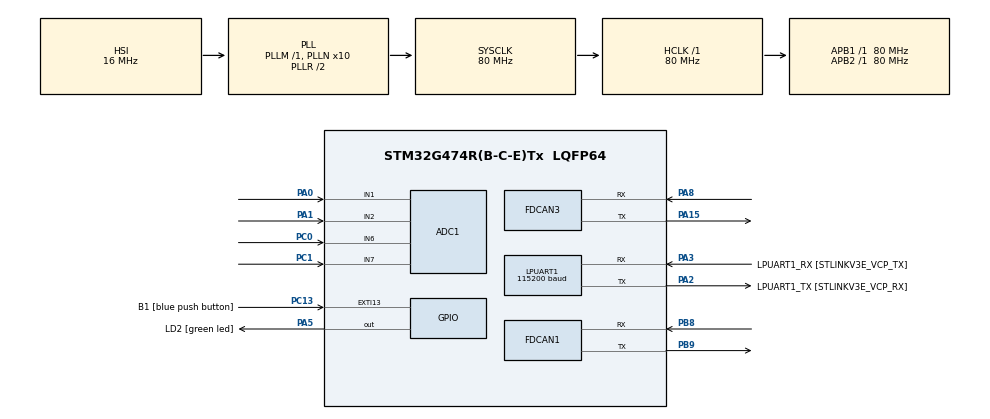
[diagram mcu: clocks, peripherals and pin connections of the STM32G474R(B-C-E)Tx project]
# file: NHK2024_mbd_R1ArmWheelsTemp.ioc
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ADC1.Channel-0\#ChannelRegularConversion=ADC_CHANNEL_1
ADC1.Channel-1\#ChannelRegularConversion=ADC_CHANNEL_2
ADC1.Channel-2\#ChannelRegularConversion=ADC_CHANNEL_6
ADC1.Channel-3\#ChannelRegularConversion=ADC_CHANNEL_7
ADC1.ContinuousConvMode=ENABLE
ADC1.DMAContinuousRequests=ENABLE
ADC1.EOCSelection=ADC_EOC_SINGLE_CONV
ADC1.NbrOfConversion=4
ADC1.NbrOfConversionFlag=1
ADC1.OffsetNumber-0\#ChannelRegularConversion=ADC_OFFSET_NONE
ADC1.OffsetNumber-1\#ChannelRegularConversion=ADC_OFFSET_NONE
ADC1.OffsetNumber-2\#ChannelRegularConversion=ADC_OFFSET_NONE
ADC1.OffsetNumber-3\#ChannelRegularConversion=ADC_OFFSET_NONE
ADC1.Rank-0\#ChannelRegularConversion=1
ADC1.Rank-1\#ChannelRegularConversion=2
ADC1.Rank-2\#ChannelRegularConversion=3
ADC1.Rank-3\#ChannelRegularConversion=4
ADC1.SamplingTime-0\#ChannelRegularConversion=ADC_SAMPLETIME_247CYCLES_5
ADC1.SamplingTime-1\#ChannelRegularConversion=ADC_SAMPLETIME_247CYCLES_5
ADC1.SamplingTime-2\#ChannelRegularConversion=ADC_SAMPLETIME_247CYCLES_5
ADC1.SamplingTime-3\#ChannelRegularConversion=ADC_SAMPLETIME_247CYCLES_5
ADC1.master=1
Dma.ADC1.0.Direction=DMA_PERIPH_TO_MEMORY
Dma.ADC1.0.EventEnable=DISABLE
Dma.ADC1.0.Instance=DMA1_Channel1
Dma.ADC1.0.MemDataAlignment=DMA_MDATAALIGN_HALFWORD
Dma.ADC1.0.MemInc=DMA_MINC_ENABLE
Dma.ADC1.0.Mode=DMA_CIRCULAR
Dma.ADC1.0.PeriphDataAlignment=DMA_PDATAALIGN_HALFWORD
Dma.ADC1.0.PeriphInc=DMA_PINC_DISABLE
Dma.ADC1.0.Polarity=HAL_DMAMUX_REQ_GEN_RISING
Dma.ADC1.0.Priority=DMA_PRIORITY_LOW
Dma.ADC1.0.RequestNumber=1
Dma.ADC1.0.SignalID=NONE
Dma.ADC1.0.SyncEnable=DISABLE
Dma.ADC1.0.SyncPolarity=HAL_DMAMUX_SYNC_NO_EVENT
Dma.ADC1.0.SyncRequestNumber=1
Dma.ADC1.0.SyncSignalID=NONE
Dma.Request0=ADC1
FDCAN1.CalculateBaudRateNominal=1000000
FDCAN1.CalculateTimeBitNominal=1000
FDCAN1.CalculateTimeQuantumNominal=50.0
FDCAN1.DataPrescaler=2
FDCAN1.DataTimeSeg1=15
FDCAN1.DataTimeSeg2=4
FDCAN1.FrameFormat=FDCAN_FRAME_FD_BRS
FDCAN1.NominalPrescaler=4
FDCAN1.NominalTimeSeg1=15
FDCAN1.NominalTimeSeg2=4
FDCAN1.StdFiltersNbr=1
FDCAN3.CalculateBaudRateNominal=1000000
FDCAN3.CalculateTimeBitNominal=1000
FDCAN3.CalculateTimeQuantumNominal=50.0
FDCAN3.NominalPrescaler=4
FDCAN3.NominalTimeSeg1=15
FDCAN3.NominalTimeSeg2=4
FDCAN3.StdFiltersNbr=1
LPUART1.BaudRate=115200
LPUART1.WordLength=UART_WORDLENGTH_8B
Mcu.Family=STM32G4
Mcu.Name=STM32G474R(B-C-E)Tx
Mcu.Package=LQFP64
NVIC.DMA1_Channel1_IRQn=true\:0\:0\:false\:false\:true\:false\:true\:true
NVIC.FDCAN1_IT0_IRQn=true\:3\:0\:true\:false\:true\:true\:true\:true
NVIC.FDCAN1_IT1_IRQn=true\:3\:0\:true\:false\:true\:true\:true\:true
NVIC.FDCAN3_IT0_IRQn=true\:0\:0\:false\:false\:true\:true\:true\:true
NVIC.FDCAN3_IT1_IRQn=true\:0\:0\:false\:false\:true\:true\:true\:true
NVIC.PriorityGroup=NVIC_PRIORITYGROUP_4
NVIC.TIM7_DAC_IRQn=true\:0\:0\:false\:false\:true\:true\:true\:true
PA0.Mode=IN1-Single-Ended
PA0.Signal=ADC1_IN1
PA1.Mode=IN2-Single-Ended
PA1.Signal=ADC1_IN2
PA13.GPIO_Label=T_SWDIO
PA13.Mode=Serial_Wire
PA13.Signal=SYS_JTMS-SWDIO
PA14.GPIO_Label=T_SWCLK
PA14.Mode=Serial_Wire
PA14.Signal=SYS_JTCK-SWCLK
PA15.Mode=FDCAN_Activate
PA15.Signal=FDCAN3_TX
PA2.GPIO_Label=LPUART1_TX [STLINKV3E_VCP_RX]
PA2.Mode=Asynchronous
PA2.Signal=LPUART1_TX
PA3.GPIO_Label=LPUART1_RX [STLINKV3E_VCP_TX]
PA3.Mode=Asynchronous
PA3.Signal=LPUART1_RX
PA5.GPIO_Label=LD2 [green led]
PA5.Signal=GPIO_Output
PA8.Mode=FDCAN_Activate
PA8.Signal=FDCAN3_RX
PB8-BOOT0.Mode=FDCAN_Activate
PB8-BOOT0.Signal=FDCAN1_RX
PB9.Mode=FDCAN_Activate
PB9.Signal=FDCAN1_TX
PC0.Mode=IN6-Single-Ended
PC0.Signal=ADC1_IN6
PC1.Mode=IN7-Single-Ended
PC1.Signal=ADC1_IN7
PC13.GPIO_Label=B1 [blue push button]
PC13.Signal=GPXTI13
PC14-OSC32_IN.Mode=LSE-External-Oscillator
PC14-OSC32_IN.Signal=RCC_OSC32_IN
PC15-OSC32_OUT.Mode=LSE-External-Oscillator
PC15-OSC32_OUT.Signal=RCC_OSC32_OUT
PF0-OSC_IN.Mode=HSE-External-Oscillator
PF0-OSC_IN.Signal=RCC_OSC_IN
PF1-OSC_OUT.Mode=HSE-External-Oscillator
PF1-OSC_OUT.Signal=RCC_OSC_OUT
ProjectManager.HeapSize=0x200
ProjectManager.StackSize=0x400
ProjectManager.TargetToolchain=STM32CubeIDE
RCC.ADC12Freq_Value=80000000
RCC.ADC345Freq_Value=80000000
RCC.AHBFreq_Value=80000000
RCC.APB1Freq_Value=80000000
RCC.APB1TimFreq_Value=80000000
RCC.APB2Freq_Value=80000000
RCC.APB2TimFreq_Value=80000000
RCC.CortexFreq_Value=80000000
RCC.EXTERNAL_CLOCK_VALUE=12288000
RCC.HCLKFreq_Value=80000000
RCC.HSE_VALUE=24000000
RCC.HSI48_VALUE=48000000
RCC.HSI_VALUE=16000000
RCC.PLLN=10
RCC.RTCClockSelection=RCC_RTCCLKSOURCE_LSE
RCC.SYSCLKFreq_VALUE=80000000
RCC.SYSCLKSource=RCC_SYSCLKSOURCE_PLLCLK
RCC.USBFreq_Value=80000000
RCC.VCOOutputFreq_Value=160000000
TIM7.PeriodNoDither=999
TIM7.Prescaler=79
VP_SYS_VS_DBSignals.Mode=DisableDeadBatterySignals
VP_TIM6_VS_ClockSourceINT.Mode=Enable_Timer
VP_TIM7_VS_ClockSourceINT.Mode=Enable_Timer
board=NUCLEO-G474RE

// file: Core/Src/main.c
/* USER CODE BEGIN Header */
/**
  ******************************************************************************
  * @file           : main.c
  * @brief          : Main program body
  ******************************************************************************
  * @attention
  *
  * Copyright (c) 2024 STMicroelectronics.
  * All rights reserved.
  *
  * This software is licensed under terms that can be found in the LICENSE file
  * in the root directory of this software component.
  * If no LICENSE file comes with this software, it is provided AS-IS.
  *
  ******************************************************************************
  */
/* USER CODE END Header */
#include "main.h"

/* USER CODE BEGIN Includes */

#include "stdio.h"
#include "string.h"

#include "R1CANIDList.h"
#include "DJI_CANIDList.h"
#include <math.h>

/* USER CODE END Includes */

/* USER CODE BEGIN PM */
#define WHEEL_DIAMETER 100 //[mm]
#define WHEELBASE_LEN 300 //[mm]
#define TREAD_LEN 200//[mm]
/* USER CODE END PM */

ADC_HandleTypeDef hadc1;
DMA_HandleTypeDef hdma_adc1;

FDCAN_HandleTypeDef hfdcan1;
FDCAN_HandleTypeDef hfdcan3;

UART_HandleTypeDef hlpuart1;

TIM_HandleTypeDef htim6;
TIM_HandleTypeDef htim7;

/* USER CODE BEGIN PV */

FDCAN_TxHeaderTypeDef FDCAN1_TxHeader;
FDCAN_RxHeaderTypeDef FDCAN1_RxHeader;
FDCAN_FilterTypeDef FDCAN1_sFilterConfig;

FDCAN_TxHeaderTypeDef FDCAN3_TxHeader;
FDCAN_RxHeaderTypeDef FDCAN3_RxHeader;
FDCAN_FilterTypeDef FDCAN3_sFilterConfig;

uint8_t FDCAN1_TxData[4] = {0};
uint8_t FDCAN1_RxData[4] = {0};
uint32_t FDCAN1_TxMailbox;

uint8_t FDCAN3_RxData[8] = {0};
uint32_t FDCAN3_TxMailbox;

int goal_list[3][4] = {{2500,1500,2500,1400},
                       {2000,1500,2500,2000},
                       {2500,2000,2000,1400}};

int move[4][4] = {{10,10,10,10},
                  {-500,500,500,-500},
                  {500,500,500,500},
                  {-500,-500,-500,-500}};

struct pid_data{
    double t;
    double i[4];
    double error[4];
    double pre_error[4];
    int u[4];
    int goal[4];
};

typedef struct{
	float actPos[3];
	float trgPos[3];
	float outPos[3];
	float actVel[3];
	float trgVel[3];
	float outVel[3];
} robotPosStatus;

typedef struct{
	uint16_t CANID;
	uint8_t motorID;
	float trgVel;
	float actVel;
	float outVel;
	float angle;//[rad]
}motor;

robotPosStatus gRobotPos;
motor gMotor[4];

struct pid_data pid;
int flag = 3;

double p_gain[4] = {4.5,4.5,4.5,4.5};
double i_gain[4] = {0.5,0.5,0.5,0.5};
double d_gain[4] = {0.5,0.5,0.5,0.5};

uint16_t adc[4] = {0};

/* USER CODE END PV */

void SystemClock_Config(void);
static void MX_GPIO_Init(void);
static void MX_DMA_Init(void);
static void MX_LPUART1_UART_Init(void);
static void MX_FDCAN3_Init(void);
static void MX_FDCAN1_Init(void);
static void MX_TIM7_Init(void);
static void MX_ADC1_Init(void);
static void MX_TIM6_Init(void);

/* USER CODE BEGIN 0 */
void InverseKinematics(robotPosStatus *robotPos, motor wheelMotor[]){
	//座標変換行�??

	float wheelParam = (WHEELBASE_LEN + TREAD_LEN) / 2;
	uint8_t gain = 6;
	const float A[4][3] = {
			{ 200, -200, wheelParam},
			{ 200,  200, wheelParam},
			{-200,  200, wheelParam},
			{-200, -200, wheelParam}
	};

	for(uint8_t i=0; i<4; i++){
		wheelMotor[i].trgVel = 0;

		for(uint8_t j=0; j<3; j++){
			wheelMotor[i].trgVel += gain * A[i][j] * robotPos->trgVel[j] / WHEEL_DIAMETER;
		}
		//printf("%d:%f\r\n", i, wheelMotor[i].trgVel);
	}
}

int _write(int file, char *ptr, int len)
{
    HAL_UART_Transmit(&hlpuart1,(uint8_t *)ptr,len,10);
    return len;
}

int clamp(int value){
    if(18000 < value)
        return 18000;
    else if(value < -18000)
        return -18000;
    return value;
}

void pid_cul(){
    double p[4] = {0};
    double d[4] = {0};

    for(int k = 0; k < 4; k++) {
        pid.error[k] = adc[k] - pid.goal[k];
        p[k] = p_gain[k] * pid.error[k];
        pid.i[k] += i_gain[k] * (pid.error[k] + pid.pre_error[k]) * pid.t / 2;
        d[k] = d_gain[k] * (pid.error[k] - pid.pre_error[k]) / pid.t;
        pid.pre_error[k] = pid.error[k];
        pid.u[k] = clamp((int) (p[k] + pid.i[k] + d[k]));
    }
    //printf("%d\n\r", adc[3]);
}

void HAL_TIM_PeriodElapsedCallback(TIM_HandleTypeDef *htim){

    if(htim == &htim7) {
        pid_cul();
        memmove(pid.pre_error, pid.error, sizeof(pid.error));
        uint8_t FDCAN3_TxData[8] = {0};
        for (int k = 0; k < 4; k++){
			FDCAN3_TxData[k * 2] = pid.u[k] >> 8;
			FDCAN3_TxData[k * 2 + 1] = pid.u[k];
		}

        FDCAN3_TxHeader.Identifier = 0x200;
        if (HAL_FDCAN_AddMessageToTxFifoQ(&hfdcan3, &FDCAN3_TxHeader, FDCAN3_TxData) != HAL_OK) {
            Error_Handler();
        }
    }
}

void HAL_FDCAN_RxFifo0Callback(FDCAN_HandleTypeDef *hfdcan, uint32_t RxFifo0ITs) {
	printf("read message!!!\r\n");
    if (hfdcan == &hfdcan1){
        if ((RxFifo0ITs & FDCAN_IT_RX_FIFO0_NEW_MESSAGE) != RESET) {
            if (HAL_FDCAN_GetRxMessage(hfdcan, FDCAN_RX_FIFO0, &FDCAN1_RxHeader, FDCAN1_RxData) != HAL_OK) {
                Error_Handler();
            }

            //Arm
            if (FDCAN1_RxHeader.Identifier == CANID_ARM1) {
            	printf("Arm:%d\r\n", FDCAN1_RxData[0]);
            	//回収
            	if (FDCAN1_RxData[0] == 0x01){
                    for (int k = 0; k < 4; k++){
                        pid.goal[k] = goal_list[0][k];
                        pid.error[k] = adc[k] - pid.goal[k];
                        pid.i[k] = 0;
                    }
                }

            	//外の2つを置く
                if (FDCAN1_RxData[0] == 0x02){
                    for (int k = 0; k < 4; k++){
                        pid.goal[k] = goal_list[1][k];
                        pid.error[k] = adc[k] - pid.goal[k];
                        pid.i[k] = 0;
                    }
                }

                //内の2つを置く
                if (FDCAN1_RxData[0] == 0x03) {
                    for (int k = 0; k < 4; k++){
                        pid.goal[k] = goal_list[2][k];
                        pid.error[k] = adc[k] - pid.goal[k];
                        pid.i[k] = 0;
                    }
                }

            }

            if (FDCAN1_RxHeader.Identifier == 0x10A) {
                for (int k = 0; k < 4; k++) {
                    adc[k] = (FDCAN1_RxData[2*k]<<8)|FDCAN1_RxData[2*k];
                }

                static uint8_t times = 0;
                times++;
//                times%50;
                if(times==0)printf("%d\n\r", adc[0]);
            }

            //足回り

            if (FDCAN1_RxHeader.Identifier == CANID_ROBOT_VEL) {
            	for(uint8_t i=0; i<3; i++){
            		gRobotPos.trgVel[i] = (float)(FDCAN1_RxData[i] - 127);
            	}

            	printf("x:%f, y:%f, r:%f\r\n", gRobotPos.trgVel[0], gRobotPos.trgVel[1], gRobotPos.trgVel[2]);
            	InverseKinematics(&gRobotPos, gMotor);

            	uint8_t FDCAN3_TxData[8] = {0};

            	for(uint8_t i=0; i<4; i++){
            		int16_t vel = gMotor[i].trgVel;
            		FDCAN3_TxData[i*2] = vel>>8;
            		FDCAN3_TxData[i*2+1] = vel & 0x00FF;
            		printf("%d:%d", i, vel);
            	}
            	printf("\r\n");
            	FDCAN3_TxHeader.Identifier = 0x1FF;

				if (HAL_FDCAN_AddMessageToTxFifoQ(&hfdcan3, &FDCAN3_TxHeader, FDCAN3_TxData) != HAL_OK) {
					Error_Handler();
				}
				//printf("robot vel %d\r\n")
                //printf("%d %d %d %d\n\r", FDCAN3_TxData[1], FDCAN3_TxData[3], FDCAN3_TxData[5], FDCAN3_TxData[7]);
            }
        }
    }
}

void HAL_FDCAN_RxFifo1Callback(FDCAN_HandleTypeDef *hfdcan, uint32_t RxFifo1ITs) {
//	printf("FIFO1 callback\r\n");
	if ((RxFifo1ITs & FDCAN_IT_RX_FIFO1_NEW_MESSAGE) != RESET) {
		if (hfdcan == &hfdcan3) {
			if (HAL_FDCAN_GetRxMessage(hfdcan, FDCAN_RX_FIFO1, &FDCAN3_RxHeader, FDCAN3_RxData) != HAL_OK) {
					printf("error code:%ld\r\n", hfdcan->ErrorCode);
				Error_Handler();
			}
//			printf("can_id is %d\r\n", FDCAN3_RxHeader.Identifier);
//			uint8_t motorID = FDCAN3_RxHeader.Identifier - DJI_CANID_TX0 - 1;
			// TODO : Update motor state
		}
	}
}

/* USER CODE END 0 */

int main(void)
{

  /* MCU Configuration--------------------------------------------------------*/

  /* Reset of all peripherals, Initializes the Flash interface and the Systick. */
  HAL_Init();

  /* Configure the system clock */
  SystemClock_Config();

  /* Initialize all configured peripherals */
  MX_GPIO_Init();
  MX_DMA_Init();
  MX_LPUART1_UART_Init();
  MX_FDCAN3_Init();
  MX_FDCAN1_Init();
  MX_TIM7_Init();
  MX_ADC1_Init();
  MX_TIM6_Init();
  /* USER CODE BEGIN 2 */
  pid.t = 1 / pow(10, 3);
  for (int k = 0; k < 4; k++){
	  pid.goal[k] = goal_list[0][k];
	  pid.error[k] = adc[k] - pid.goal[k];
	  pid.i[k] = 0;
  }
  printf("Initialized\r\n");

//    HAL_TIM_Base_Start_IT(&htim7);

  /* USER CODE END 2 */

  /* Infinite loop */
  /* USER CODE BEGIN WHILE */
  HAL_ADCEx_Calibration_Start(&hadc1, ADC_SINGLE_ENDED);
  HAL_ADC_Start_DMA(&hadc1, (uint32_t *)&adc, 4);
  uint8_t FDCAN3_TxData[8] = {0};
  while (1)
  {
//    printf("%d %d %d %d\r\n", adc[0], adc[1], adc[2], adc[3]);
  	uint16_t current = 500; // 0.1A
    FDCAN3_TxData[0] = current >> 8;
    FDCAN3_TxData[1] = current & 0xFF;
    FDCAN3_TxHeader.Identifier = DJI_CANID_TX1;
		if (HAL_FDCAN_AddMessageToTxFifoQ(&hfdcan3, &FDCAN3_TxHeader, FDCAN3_TxData) != HAL_OK) {
				Error_Handler();
		}
		printf("send_message\r\n");
    HAL_Delay(1);
    /* USER CODE END WHILE */

  }
}

void SystemClock_Config(void)
{
  RCC_OscInitTypeDef RCC_OscInitStruct = {0};
  RCC_ClkInitTypeDef RCC_ClkInitStruct = {0};

  /** Configure the main internal regulator output voltage
  */
  HAL_PWREx_ControlVoltageScaling(PWR_REGULATOR_VOLTAGE_SCALE1);

  /** Initializes the RCC Oscillators according to the specified parameters
  * in the RCC_OscInitTypeDef structure.
  */
  RCC_OscInitStruct.OscillatorType = RCC_OSCILLATORTYPE_HSI;
  RCC_OscInitStruct.HSIState = RCC_HSI_ON;
  RCC_OscInitStruct.HSICalibrationValue = RCC_HSICALIBRATION_DEFAULT;
  RCC_OscInitStruct.PLL.PLLState = RCC_PLL_ON;
  RCC_OscInitStruct.PLL.PLLSource = RCC_PLLSOURCE_HSI;
  RCC_OscInitStruct.PLL.PLLM = RCC_PLLM_DIV1;
  RCC_OscInitStruct.PLL.PLLN = 10;
  RCC_OscInitStruct.PLL.PLLP = RCC_PLLP_DIV2;
  RCC_OscInitStruct.PLL.PLLQ = RCC_PLLQ_DIV2;
  RCC_OscInitStruct.PLL.PLLR = RCC_PLLR_DIV2;
  if (HAL_RCC_OscConfig(&RCC_OscInitStruct) != HAL_OK)
  {
    Error_Handler();
  }

  /** Initializes the CPU, AHB and APB buses clocks
  */
  RCC_ClkInitStruct.ClockType = RCC_CLOCKTYPE_HCLK|RCC_CLOCKTYPE_SYSCLK
                              |RCC_CLOCKTYPE_PCLK1|RCC_CLOCKTYPE_PCLK2;
  RCC_ClkInitStruct.SYSCLKSource = RCC_SYSCLKSOURCE_PLLCLK;
  RCC_ClkInitStruct.AHBCLKDivider = RCC_SYSCLK_DIV1;
  RCC_ClkInitStruct.APB1CLKDivider = RCC_HCLK_DIV1;
  RCC_ClkInitStruct.APB2CLKDivider = RCC_HCLK_DIV1;

  if (HAL_RCC_ClockConfig(&RCC_ClkInitStruct, FLASH_LATENCY_2) != HAL_OK)
  {
    Error_Handler();
  }
}

static void MX_ADC1_Init(void)
{

  ADC_MultiModeTypeDef multimode = {0};
  ADC_ChannelConfTypeDef sConfig = {0};

  /** Common config
  */
  hadc1.Instance = ADC1;
  hadc1.Init.ClockPrescaler = ADC_CLOCK_SYNC_PCLK_DIV2;
  hadc1.Init.Resolution = ADC_RESOLUTION_12B;
  hadc1.Init.DataAlign = ADC_DATAALIGN_RIGHT;
  hadc1.Init.GainCompensation = 0;
  hadc1.Init.ScanConvMode = ADC_SCAN_ENABLE;
  hadc1.Init.EOCSelection = ADC_EOC_SINGLE_CONV;
  hadc1.Init.LowPowerAutoWait = DISABLE;
  hadc1.Init.ContinuousConvMode = ENABLE;
  hadc1.Init.NbrOfConversion = 4;
  hadc1.Init.DiscontinuousConvMode = DISABLE;
  hadc1.Init.ExternalTrigConv = ADC_SOFTWARE_START;
  hadc1.Init.ExternalTrigConvEdge = ADC_EXTERNALTRIGCONVEDGE_NONE;
  hadc1.Init.DMAContinuousRequests = ENABLE;
  hadc1.Init.Overrun = ADC_OVR_DATA_PRESERVED;
  hadc1.Init.OversamplingMode = DISABLE;
  if (HAL_ADC_Init(&hadc1) != HAL_OK)
  {
    Error_Handler();
  }

  /** Configure the ADC multi-mode
  */
  multimode.Mode = ADC_MODE_INDEPENDENT;
  if (HAL_ADCEx_MultiModeConfigChannel(&hadc1, &multimode) != HAL_OK)
  {
    Error_Handler();
  }

  /** Configure Regular Channel
  */
  sConfig.Channel = ADC_CHANNEL_1;
  sConfig.Rank = ADC_REGULAR_RANK_1;
  sConfig.SamplingTime = ADC_SAMPLETIME_247CYCLES_5;
  sConfig.SingleDiff = ADC_SINGLE_ENDED;
  sConfig.OffsetNumber = ADC_OFFSET_NONE;
  sConfig.Offset = 0;
  if (HAL_ADC_ConfigChannel(&hadc1, &sConfig) != HAL_OK)
  {
    Error_Handler();
  }

  /** Configure Regular Channel
  */
  sConfig.Channel = ADC_CHANNEL_2;
  sConfig.Rank = ADC_REGULAR_RANK_2;
  if (HAL_ADC_ConfigChannel(&hadc1, &sConfig) != HAL_OK)
  {
    Error_Handler();
  }

  /** Configure Regular Channel
  */
  sConfig.Channel = ADC_CHANNEL_6;
  sConfig.Rank = ADC_REGULAR_RANK_3;
  if (HAL_ADC_ConfigChannel(&hadc1, &sConfig) != HAL_OK)
  {
    Error_Handler();
  }

  /** Configure Regular Channel
  */
  sConfig.Channel = ADC_CHANNEL_7;
  sConfig.Rank = ADC_REGULAR_RANK_4;
  if (HAL_ADC_ConfigChannel(&hadc1, &sConfig) != HAL_OK)
  {
    Error_Handler();
  }

}

static void MX_FDCAN1_Init(void)
{

  hfdcan1.Instance = FDCAN1;
  hfdcan1.Init.ClockDivider = FDCAN_CLOCK_DIV1;
  hfdcan1.Init.FrameFormat = FDCAN_FRAME_FD_BRS;
  hfdcan1.Init.Mode = FDCAN_MODE_NORMAL;
  hfdcan1.Init.AutoRetransmission = DISABLE;
  hfdcan1.Init.TransmitPause = DISABLE;
  hfdcan1.Init.ProtocolException = DISABLE;
  hfdcan1.Init.NominalPrescaler = 4;
  hfdcan1.Init.NominalSyncJumpWidth = 1;
  hfdcan1.Init.NominalTimeSeg1 = 15;
  hfdcan1.Init.NominalTimeSeg2 = 4;
  hfdcan1.Init.DataPrescaler = 2;
  hfdcan1.Init.DataSyncJumpWidth = 1;
  hfdcan1.Init.DataTimeSeg1 = 15;
  hfdcan1.Init.DataTimeSeg2 = 4;
  hfdcan1.Init.StdFiltersNbr = 1;
  hfdcan1.Init.ExtFiltersNbr = 0;
  hfdcan1.Init.TxFifoQueueMode = FDCAN_TX_FIFO_OPERATION;
  if (HAL_FDCAN_Init(&hfdcan1) != HAL_OK)
  {
    Error_Handler();
  }
  /* USER CODE BEGIN FDCAN1_Init 2 */

  FDCAN1_TxHeader.Identifier = 0x000;
  FDCAN1_TxHeader.IdType = FDCAN_STANDARD_ID;
  FDCAN1_TxHeader.TxFrameType = FDCAN_DATA_FRAME;
  FDCAN1_TxHeader.DataLength = FDCAN_DLC_BYTES_1;
  FDCAN1_TxHeader.ErrorStateIndicator = FDCAN_ESI_ACTIVE;
  FDCAN1_TxHeader.BitRateSwitch = FDCAN_BRS_ON;
  FDCAN1_TxHeader.FDFormat = FDCAN_FD_CAN;
  FDCAN1_TxHeader.TxEventFifoControl = FDCAN_NO_TX_EVENTS;
  FDCAN1_TxHeader.MessageMarker = 0;

  FDCAN1_sFilterConfig.IdType = FDCAN_STANDARD_ID;
  FDCAN1_sFilterConfig.FilterIndex = 0;
  FDCAN1_sFilterConfig.FilterType = FDCAN_FILTER_MASK;
  FDCAN1_sFilterConfig.FilterConfig = FDCAN_FILTER_TO_RXFIFO0;
  FDCAN1_sFilterConfig.FilterID1 = CANID_ARM1;
  FDCAN1_sFilterConfig.FilterID2 = 0b11111111100;

  if (HAL_FDCAN_ConfigFilter(&hfdcan1, &FDCAN1_sFilterConfig) != HAL_OK) {
      Error_Handler();
  }
  if (HAL_FDCAN_ConfigGlobalFilter(&hfdcan1, FDCAN_REJECT, FDCAN_REJECT, FDCAN_FILTER_REMOTE, FDCAN_FILTER_REMOTE) !=
      HAL_OK) {
      Error_Handler();
  }
  if (HAL_FDCAN_Start(&hfdcan1) != HAL_OK) {
      Error_Handler();
  }
  if (HAL_FDCAN_ActivateNotification(&hfdcan1, FDCAN_IT_RX_FIFO0_NEW_MESSAGE, 0) != HAL_OK){
      Error_Handler();
  }

  /* USER CODE END FDCAN1_Init 2 */

}

static void MX_FDCAN3_Init(void)
{

  hfdcan3.Instance = FDCAN3;
  hfdcan3.Init.ClockDivider = FDCAN_CLOCK_DIV1;
  hfdcan3.Init.FrameFormat = FDCAN_FRAME_CLASSIC;
  hfdcan3.Init.Mode = FDCAN_MODE_NORMAL;
  hfdcan3.Init.AutoRetransmission = DISABLE;
  hfdcan3.Init.TransmitPause = DISABLE;
  hfdcan3.Init.ProtocolException = DISABLE;
  hfdcan3.Init.NominalPrescaler = 4;
  hfdcan3.Init.NominalSyncJumpWidth = 1;
  hfdcan3.Init.NominalTimeSeg1 = 15;
  hfdcan3.Init.NominalTimeSeg2 = 4;
  hfdcan3.Init.DataPrescaler = 1;
  hfdcan3.Init.DataSyncJumpWidth = 1;
  hfdcan3.Init.DataTimeSeg1 = 1;
  hfdcan3.Init.DataTimeSeg2 = 1;
  hfdcan3.Init.StdFiltersNbr = 1;
  hfdcan3.Init.ExtFiltersNbr = 0;
  hfdcan3.Init.TxFifoQueueMode = FDCAN_TX_FIFO_OPERATION;
  if (HAL_FDCAN_Init(&hfdcan3) != HAL_OK)
  {
    Error_Handler();
  }
  /* USER CODE BEGIN FDCAN3_Init 2 */

  FDCAN3_TxHeader.Identifier = 0x000;
  FDCAN3_TxHeader.IdType = FDCAN_STANDARD_ID;
  FDCAN3_TxHeader.TxFrameType = FDCAN_DATA_FRAME;
  FDCAN3_TxHeader.DataLength = FDCAN_DLC_BYTES_8;
  FDCAN3_TxHeader.ErrorStateIndicator = FDCAN_ESI_ACTIVE;
  FDCAN3_TxHeader.BitRateSwitch = FDCAN_BRS_OFF;
  FDCAN3_TxHeader.FDFormat = FDCAN_CLASSIC_CAN;
  FDCAN3_TxHeader.TxEventFifoControl = FDCAN_NO_TX_EVENTS;
  FDCAN3_TxHeader.MessageMarker = 0;

  FDCAN3_sFilterConfig.IdType = FDCAN_STANDARD_ID;
  FDCAN3_sFilterConfig.FilterIndex = 0;
  FDCAN3_sFilterConfig.FilterType = FDCAN_FILTER_RANGE;
  FDCAN3_sFilterConfig.FilterConfig = FDCAN_FILTER_TO_RXFIFO1;
  FDCAN3_sFilterConfig.FilterID1 = 0x000;
  FDCAN3_sFilterConfig.FilterID2 = 0x7ff;

	if (HAL_FDCAN_ConfigFilter(&hfdcan3, &FDCAN3_sFilterConfig) != HAL_OK) {
		Error_Handler();
	}
	if (HAL_FDCAN_ConfigGlobalFilter(&hfdcan3, FDCAN_REJECT, FDCAN_REJECT, FDCAN_FILTER_REMOTE, FDCAN_FILTER_REMOTE) != HAL_OK) {
		Error_Handler();
	}

	if (HAL_FDCAN_Start(&hfdcan3) != HAL_OK) {
		Error_Handler();
	}

	if (HAL_FDCAN_ActivateNotification(&hfdcan3, FDCAN_IT_RX_FIFO1_NEW_MESSAGE, 0) != HAL_OK) {
		Error_Handler();
	}

  /* USER CODE END FDCAN3_Init 2 */

}

static void MX_LPUART1_UART_Init(void)
{

  hlpuart1.Instance = LPUART1;
  hlpuart1.Init.BaudRate = 115200;
  hlpuart1.Init.WordLength = UART_WORDLENGTH_8B;
  hlpuart1.Init.StopBits = UART_STOPBITS_1;
  hlpuart1.Init.Parity = UART_PARITY_NONE;
  hlpuart1.Init.Mode = UART_MODE_TX_RX;
  hlpuart1.Init.HwFlowCtl = UART_HWCONTROL_NONE;
  hlpuart1.Init.OneBitSampling = UART_ONE_BIT_SAMPLE_DISABLE;
  hlpuart1.Init.ClockPrescaler = UART_PRESCALER_DIV1;
  hlpuart1.AdvancedInit.AdvFeatureInit = UART_ADVFEATURE_NO_INIT;
  if (HAL_UART_Init(&hlpuart1) != HAL_OK)
  {
    Error_Handler();
  }
  if (HAL_UARTEx_SetTxFifoThreshold(&hlpuart1, UART_TXFIFO_THRESHOLD_1_8) != HAL_OK)
  {
    Error_Handler();
  }
  if (HAL_UARTEx_SetRxFifoThreshold(&hlpuart1, UART_RXFIFO_THRESHOLD_1_8) != HAL_OK)
  {
    Error_Handler();
  }
  if (HAL_UARTEx_DisableFifoMode(&hlpuart1) != HAL_OK)
  {
    Error_Handler();
  }

}

static void MX_TIM6_Init(void)
{

  TIM_MasterConfigTypeDef sMasterConfig = {0};

  htim6.Instance = TIM6;
  htim6.Init.Prescaler = 0;
  htim6.Init.CounterMode = TIM_COUNTERMODE_UP;
  htim6.Init.Period = 65535;
  htim6.Init.AutoReloadPreload = TIM_AUTORELOAD_PRELOAD_DISABLE;
  if (HAL_TIM_Base_Init(&htim6) != HAL_OK)
  {
    Error_Handler();
  }
  sMasterConfig.MasterOutputTrigger = TIM_TRGO_RESET;
  sMasterConfig.MasterSlaveMode = TIM_MASTERSLAVEMODE_DISABLE;
  if (HAL_TIMEx_MasterConfigSynchronization(&htim6, &sMasterConfig) != HAL_OK)
  {
    Error_Handler();
  }

}

static void MX_TIM7_Init(void)
{

  TIM_MasterConfigTypeDef sMasterConfig = {0};

  htim7.Instance = TIM7;
  htim7.Init.Prescaler = 79;
  htim7.Init.CounterMode = TIM_COUNTERMODE_UP;
  htim7.Init.Period = 999;
  htim7.Init.AutoReloadPreload = TIM_AUTORELOAD_PRELOAD_DISABLE;
  if (HAL_TIM_Base_Init(&htim7) != HAL_OK)
  {
    Error_Handler();
  }
  sMasterConfig.MasterOutputTrigger = TIM_TRGO_RESET;
  sMasterConfig.MasterSlaveMode = TIM_MASTERSLAVEMODE_DISABLE;
  if (HAL_TIMEx_MasterConfigSynchronization(&htim7, &sMasterConfig) != HAL_OK)
  {
    Error_Handler();
  }

}

static void MX_DMA_Init(void)
{

  /* DMA controller clock enable */
  __HAL_RCC_DMAMUX1_CLK_ENABLE();
  __HAL_RCC_DMA1_CLK_ENABLE();

  /* DMA interrupt init */
  /* DMA1_Channel1_IRQn interrupt configuration */
  HAL_NVIC_SetPriority(DMA1_Channel1_IRQn, 0, 0);
  HAL_NVIC_EnableIRQ(DMA1_Channel1_IRQn);

}

static void MX_GPIO_Init(void)
{
  GPIO_InitTypeDef GPIO_InitStruct = {0};

  /* GPIO Ports Clock Enable */
  __HAL_RCC_GPIOC_CLK_ENABLE();
  __HAL_RCC_GPIOF_CLK_ENABLE();
  __HAL_RCC_GPIOA_CLK_ENABLE();
  __HAL_RCC_GPIOB_CLK_ENABLE();

  /*Configure GPIO pin Output Level */
  HAL_GPIO_WritePin(LD2_GPIO_Port, LD2_Pin, GPIO_PIN_RESET);

  /*Configure GPIO pin : B1_Pin */
  GPIO_InitStruct.Pin = B1_Pin;
  GPIO_InitStruct.Mode = GPIO_MODE_IT_RISING;
  GPIO_InitStruct.Pull = GPIO_NOPULL;
  HAL_GPIO_Init(B1_GPIO_Port, &GPIO_InitStruct);

  /*Configure GPIO pin : LD2_Pin */
  GPIO_InitStruct.Pin = LD2_Pin;
  GPIO_InitStruct.Mode = GPIO_MODE_OUTPUT_PP;
  GPIO_InitStruct.Pull = GPIO_NOPULL;
  GPIO_InitStruct.Speed = GPIO_SPEED_FREQ_LOW;
  HAL_GPIO_Init(LD2_GPIO_Port, &GPIO_InitStruct);

}

void Error_Handler(void)
{
  /* USER CODE BEGIN Error_Handler_Debug */
  /* User can add his own implementation to report the HAL error return state */
  __disable_irq();
  while (1)
  {
//	  printf("error\r\n");
  }
  /* USER CODE END Error_Handler_Debug */
}
